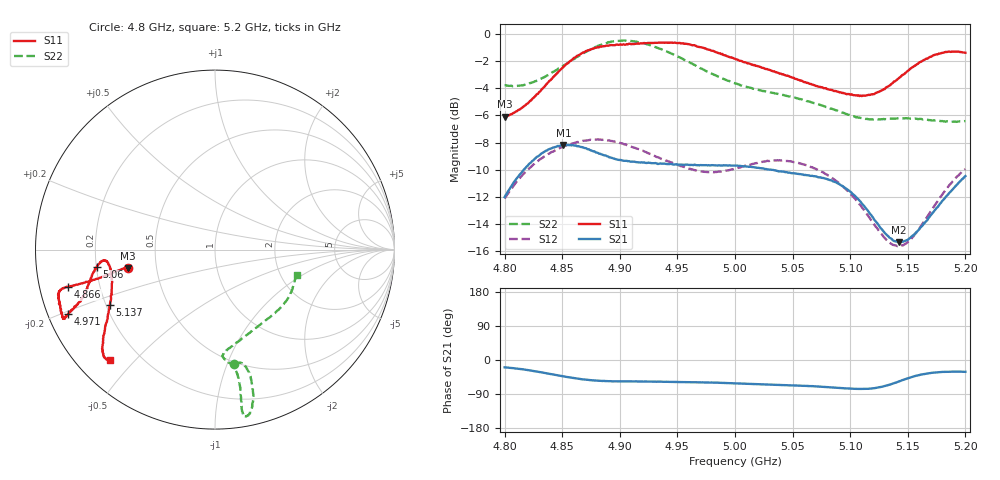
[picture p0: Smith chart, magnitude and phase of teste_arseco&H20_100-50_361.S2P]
! Network Analyzer HP8722D
! Hewlett-Packard
! Data name: Linha & Wilkinson
! Saver's name: Rodrigo Anjos
! Comments: Teste da utilização de aquisição
! continua pelo VNA HP8722D
! Time and date: 6/5/2025 15:34
!  Frequency  S11  S21  S12  S22
# HZ  S  MA R 50
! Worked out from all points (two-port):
!   401 points, 4.8 GHz to 5.2 GHz, reference 50 ohm
!   highest |S21| = -8.17 dB at 4.851 GHz (marker M1); lowest = -15.3 dB at 5.142 GHz (marker M2)
!   |S21| within 3 dB of the highest: 4.806 GHz to 5.093 GHz (286.5 MHz wide, 5.79 % of centre); 5.191895 GHz to end of sweep
!   lowest |S11| = -6.1 dB at 4.8 GHz (marker M3), VSWR 2.97, Z = 17 - j4.61 ohm
!   |S11| at or under -10 dB: nowhere
!   |S22| runs from -6.5 to -0.5 dB; largest |S21 - S12| = 0.62
!   S11 on the Smith chart (normalised r, x): 4.8 GHz: 0.34, -0.09; 4.866 GHz: 0.09, -0.12; 4.971 GHz: 0.06, -0.21; 5.06 GHz: 0.20, -0.07; 5.137 GHz: 0.22, -0.24; 5.2 GHz: 0.09, -0.43
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4.8e9  0.4964 -168.1  0.2511 -19.4  0.2483 -140.7  0.6477 -80.4
4.823e9  0.5696 -167.5  0.3371 -28.1  0.3246 -143.6  0.6602 -76.1
4.851e9  0.7559 -165.8  0.3906 -43.2  0.3847 -149.1  0.7639 -74.6
4.866e9  0.844 -165.7  0.3838 -50.3  0.4026 -151.7  0.8367 -75.2
4.867e9  0.8483 -165.8  0.3834 -50.9  0.403 -151.9  0.843 -75.3
4.899e9  0.9113 -162.8  0.344 -56.3  0.3989 -156.6  0.9425 -79.1
4.915e9  0.9203 -159.3  0.3373 -56.6  0.3784 -157.1  0.9349 -80.3
4.934e9  0.9286 -156.4  0.3328 -57.4  0.3507 -155.6  0.8845 -80.4
4.971e9  0.8919 -156.4  0.329 -59.2  0.3119 -146.4  0.745 -79.6
5e9  0.8101 -158.9  0.3276 -61.7  0.3195 -137.1  0.6572 -81.3
5.035e9  0.7239 -165.2  0.3149 -65.7  0.3428 -134.2  0.6035 -85.6
5.06e9  0.6647 -171.5  0.3026 -68.1  0.3307 -136.0  0.5709 -84.2
5.067e9  0.6515 -172.9  0.3008 -68.9  0.3235 -136.7  0.5587 -82.6
5.083e9  0.6224 -174.5  0.2896 -72.0  0.2973 -138.1  0.5309 -76.8
5.102e9  0.5971 -171.8  0.2582 -75.9  0.2538 -138.6  0.4981 -66.0
5.116e9  0.597 -165.5  0.2215 -75.9  0.2131 -135.5  0.4852 -55.8
5.134e9  0.6449 -154.1  0.1783 -65.4  0.1707 -120.8  0.4878 -43.3
5.137e9  0.6604 -152.3  0.1742 -62.2  0.1676 -116.9  0.4876 -41.5
5.142e9  0.6851 -149.8  0.1712 -56.9  0.1662 -110.4  0.4891 -38.5
5.154e9  0.7536 -144.4  0.181 -44.4  0.1784 -95.1  0.4883 -32.3
5.174e9  0.8388 -138.3  0.2259 -32.7  0.2361 -80.3  0.4796 -23.9
5.2e9  0.8524 -133.6  0.2999 -31.2  0.3184 -76.8  0.4768 -17.5
